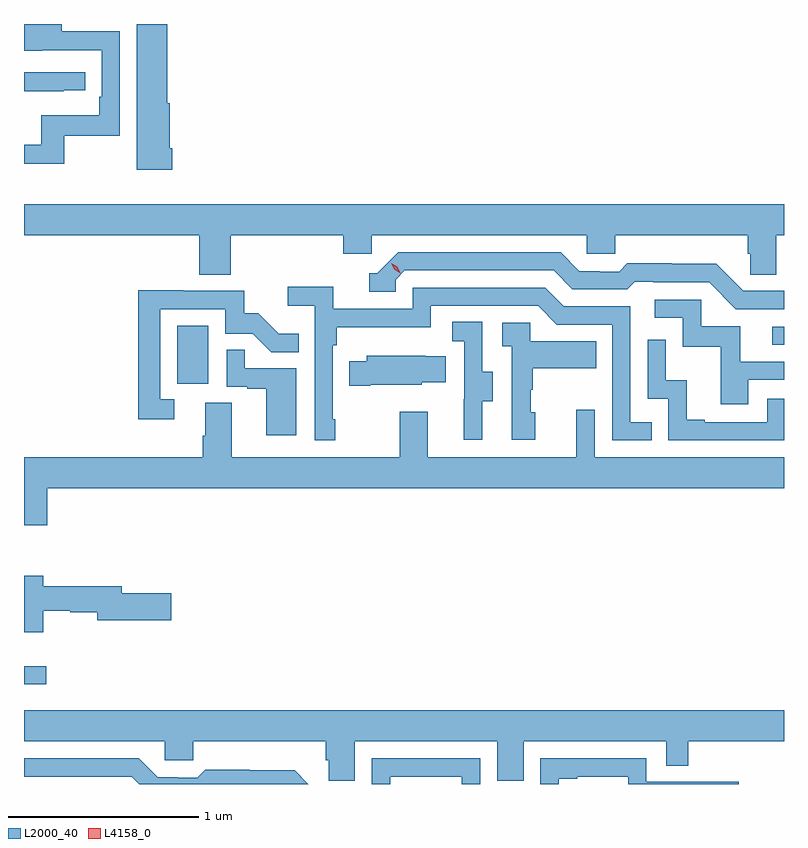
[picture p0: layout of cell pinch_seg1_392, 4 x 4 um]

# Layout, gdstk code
import gdstk
lib = gdstk.Library(unit=1e-6, precision=1e-09)
def R(c, l, rs):  # rectangles x0, y0, x1, y1
    for r in rs: c.add(gdstk.rectangle(r[:2], r[2:], *l))
def P(c, l, *ps):  # polygons
    for p in ps: c.add(gdstk.Polygon(p, *l))
L2000_40 = (2000, 40)
L4158_0 = (4158, 0)

pinch_seg1_392 = lib.new_cell('pinch_seg1_392')
R(pinch_seg1_392, L2000_40, [(999.678,522.728,999.796,522.825), (1000.484,524.31,1000.648,524.617), (1003.617,524.517,1003.678,524.61)])
P(pinch_seg1_392, L2000_40, [(999.889,525.615),(1000.182,525.615),(1000.182,526.166),(999.877,526.166),(999.877,526.204),(999.678,526.204),(999.678,526.064),(999.773,526.064),(999.773,526.065),(1000.086,526.065),(1000.086,525.82),(1000.073,525.82),(1000.073,525.724),(999.768,525.724),(999.768,525.569),(999.678,525.569),(999.678,525.468),(999.889,525.468)],
  [(1000.457,525.55),(1000.444,525.55),(1000.444,525.786),(1000.432,525.786),(1000.432,526.204),(1000.271,526.204),(1000.271,525.438),(1000.457,525.438)],
  [(999.887,525.855),(1000,525.855),(1000,525.951),(999.678,525.951),(999.678,525.85),(999.887,525.85)],
  [(1000.766,525.092),(1001.357,525.092),(1001.357,524.994),(1001.508,524.994),(1001.508,525.092),(1002.639,525.092),(1002.639,524.994),(1002.789,524.994),(1002.789,525.092),(1003.487,525.092),(1003.487,524.994),(1003.501,524.994),(1003.501,524.884),(1003.638,524.884),(1003.638,525.092),(1003.678,525.092),(1003.678,525.256),(999.678,525.256),(999.678,525.092),(1000.601,525.092),(1000.601,524.884),(1000.766,524.884)],
  [(1003.678,524.799),(1003.464,524.799),(1003.322,524.941),(1003.086,524.941),(1003.086,524.944),(1002.853,524.944),(1002.811,524.901),(1002.708,524.901),(1002.708,524.904),(1002.601,524.904),(1002.502,525.003),(1001.649,525.003),(1001.538,524.892),(1001.495,524.892),(1001.495,524.796),(1001.634,524.796),(1001.634,524.859),(1001.682,524.907),(1002.465,524.907),(1002.564,524.808),(1002.853,524.808),(1002.892,524.847),(1002.991,524.847),(1002.991,524.844),(1003.284,524.844),(1003.425,524.703),(1003.678,524.703)],
  [(1001.317,524.125),(1001.304,524.125),(1001.304,524.513),(1001.324,524.513),(1001.324,524.609),(1001.82,524.609),(1001.82,524.721),(1002.384,524.721),(1002.483,524.622),(1002.774,524.622),(1002.774,524.013),(1002.983,524.013),(1002.983,524.109),(1002.87,524.109),(1002.87,524.718),(1002.52,524.718),(1002.421,524.817),(1001.724,524.817),(1001.724,524.706),(1001.306,524.706),(1001.306,524.822),(1001.067,524.822),(1001.067,524.72),(1001.208,524.72),(1001.208,524.013),(1001.317,524.013)],
  [(1000.468,524.229),(1000.395,524.229),(1000.395,524.703),(1000.737,524.703),(1000.737,524.574),(1000.881,524.574),(1000.979,524.476),(1001.123,524.476),(1001.123,524.575),(1001.019,524.575),(1000.912,524.682),(1000.836,524.682),(1000.836,524.799),(1000.517,524.799),(1000.517,524.804),(1000.279,524.804),(1000.279,524.124),(1000.468,524.124)],
  [(1003.489,524.331),(1003.678,524.331),(1003.678,524.427),(1003.447,524.427),(1003.447,524.613),(1003.242,524.613),(1003.242,524.754),(1002.999,524.754),(1002.999,524.658),(1003.146,524.658),(1003.146,524.505),(1003.345,524.505),(1003.345,524.202),(1003.489,524.202)],
  [(1002.091,524.218),(1002.145,524.218),(1002.145,524.373),(1002.09,524.373),(1002.09,524.636),(1001.931,524.636),(1001.931,524.533),(1001.994,524.533),(1001.994,524.229),(1001.993,524.229),(1001.993,524.016),(1002.091,524.016)],
  [(1002.37,524.16),(1002.345,524.16),(1002.345,524.279),(1002.355,524.279),(1002.355,524.393),(1002.689,524.393),(1002.689,524.533),(1002.342,524.533),(1002.342,524.631),(1002.195,524.631),(1002.195,524.507),(1002.246,524.507),(1002.246,524.016),(1002.37,524.016)],
  [(1003.678,524.232),(1003.59,524.232),(1003.59,524.109),(1003.261,524.109),(1003.261,524.121),(1003.166,524.121),(1003.166,524.33),(1003.056,524.33),(1003.056,524.542),(1002.96,524.542),(1002.96,524.232),(1003.068,524.232),(1003.068,524.013),(1003.678,524.013)],
  [(1001.11,524.391),(1000.841,524.391),(1000.841,524.489),(1000.746,524.489),(1000.746,524.295),(1000.853,524.295),(1000.853,524.283),(1000.952,524.283),(1000.952,524.04),(1001.11,524.04)],
  [(1001.5,524.306),(1001.772,524.306),(1001.772,524.318),(1001.897,524.318),(1001.897,524.455),(1001.789,524.455),(1001.789,524.458),(1001.483,524.458),(1001.483,524.428),(1001.389,524.428),(1001.389,524.299),(1001.5,524.299)],
  [(999.8,523.76),(1003.678,523.76),(1003.678,523.924),(1002.681,523.924),(1002.681,524.173),(1002.584,524.173),(1002.584,523.924),(1001.803,523.924),(1001.803,524.164),(1001.656,524.164),(1001.656,523.924),(1000.771,523.924),(1000.771,524.21),(1000.631,524.21),(1000.631,524.036),(1000.619,524.036),(1000.619,523.924),(999.678,523.924),(999.678,523.566),(999.8,523.566)],
  [(999.778,523.116),(999.921,523.116),(999.921,523.108),(1000.064,523.108),(1000.064,523.066),(1000.453,523.066),(1000.453,523.208),(1000.192,523.208),(1000.192,523.244),(999.778,523.244),(999.778,523.3),(999.678,523.3),(999.678,523.004),(999.778,523.004)],
  [(1001.418,522.428),(1002.168,522.428),(1002.168,522.22),(1002.307,522.22),(1002.307,522.428),(1003.059,522.428),(1003.059,522.301),(1003.175,522.301),(1003.175,522.428),(1003.678,522.428),(1003.678,522.592),(999.678,522.592),(999.678,522.428),(1000.419,522.428),(1000.419,522.33),(1000.569,522.33),(1000.569,522.428),(1001.267,522.428),(1001.267,522.33),(1001.281,522.33),(1001.281,522.22),(1001.418,522.22)],
  [(1001.102,522.277),(1000.866,522.277),(1000.866,522.28),(1000.633,522.28),(1000.591,522.237),(1000.488,522.237),(1000.488,522.24),(1000.381,522.24),(1000.282,522.339),(999.678,522.339),(999.678,522.243),(1000.245,522.243),(1000.284,522.204),(1001.175,522.204)],
  [(1001.605,522.243),(1001.982,522.243),(1001.982,522.204),(1002.078,522.204),(1002.078,522.339),(1001.508,522.339),(1001.508,522.204),(1001.605,522.204)],
  [(1002.493,522.231),(1002.589,522.231),(1002.589,522.243),(1002.858,522.243),(1002.858,522.204),(1003.441,522.204),(1003.441,522.216),(1002.954,522.216),(1002.954,522.339),(1002.396,522.339),(1002.396,522.204),(1002.493,522.204)])
P(pinch_seg1_392, L4158_0, [(1001.658,524.893),(1001.627,524.912),(1001.61,524.944),(1001.61,524.944),(1001.61,524.944),(1001.642,524.926),(1001.658,524.893),(1001.658,524.893)])

lib.write_gds('pinch_seg1_392.gds')
